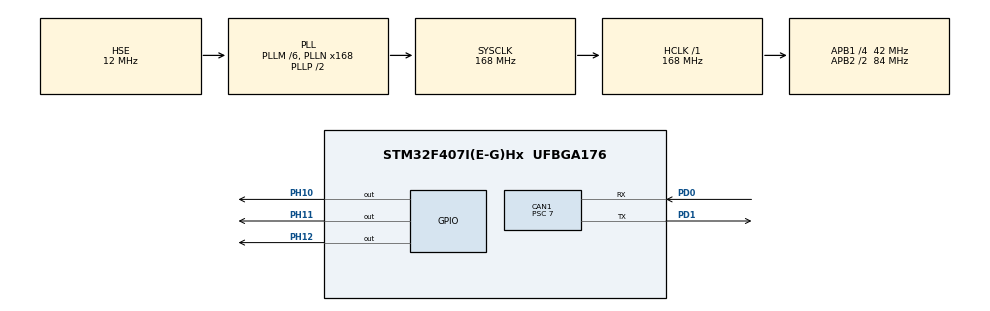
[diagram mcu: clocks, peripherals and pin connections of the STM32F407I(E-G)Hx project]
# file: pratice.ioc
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CAN1.BS1=CAN_BS1_2TQ
CAN1.BS2=CAN_BS2_3TQ
CAN1.CalculateBaudRate=1000000
CAN1.CalculateTimeBit=999.99
CAN1.CalculateTimeQuantum=166.66666666666669
CAN1.Prescaler=7
Mcu.Family=STM32F4
Mcu.Name=STM32F407I(E-G)Hx
Mcu.Package=UFBGA176
NVIC.CAN1_RX0_IRQn=true\:0\:0\:false\:false\:true\:true\:true
NVIC.PriorityGroup=NVIC_PRIORITYGROUP_4
PA13.Mode=Serial_Wire
PA13.Signal=SYS_JTMS-SWDIO
PA14.Mode=Serial_Wire
PA14.Signal=SYS_JTCK-SWCLK
PC14-OSC32_IN.Mode=LSE-External-Oscillator
PC14-OSC32_IN.Signal=RCC_OSC32_IN
PC15-OSC32_OUT.Mode=LSE-External-Oscillator
PC15-OSC32_OUT.Signal=RCC_OSC32_OUT
PD0.Mode=CAN_Activate
PD0.Signal=CAN1_RX
PD1.Mode=CAN_Activate
PD1.Signal=CAN1_TX
PH0-OSC_IN.Mode=HSE-External-Oscillator
PH0-OSC_IN.Signal=RCC_OSC_IN
PH1-OSC_OUT.Mode=HSE-External-Oscillator
PH1-OSC_OUT.Signal=RCC_OSC_OUT
PH10.Signal=GPIO_Output
PH11.Signal=GPIO_Output
PH12.Signal=GPIO_Output
ProjectManager.HeapSize=0x200
ProjectManager.StackSize=0x400
ProjectManager.TargetToolchain=MDK-ARM V5.27
RCC.48MHZClocksFreq_Value=84000000
RCC.AHBFreq_Value=168000000
RCC.APB1CLKDivider=RCC_HCLK_DIV4
RCC.APB1Freq_Value=42000000
RCC.APB1TimFreq_Value=84000000
RCC.APB2CLKDivider=RCC_HCLK_DIV2
RCC.APB2Freq_Value=84000000
RCC.APB2TimFreq_Value=168000000
RCC.CortexFreq_Value=168000000
RCC.HCLKFreq_Value=168000000
RCC.HSE_VALUE=12000000
RCC.HSI_VALUE=16000000
RCC.PLLM=6
RCC.PLLN=168
RCC.PLLSourceVirtual=RCC_PLLSOURCE_HSE
RCC.SYSCLKFreq_VALUE=168000000
RCC.SYSCLKSource=RCC_SYSCLKSOURCE_PLLCLK
RCC.VCOOutputFreq_Value=336000000
board=custom

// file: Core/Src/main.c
/* USER CODE BEGIN Header */
/**
  ******************************************************************************
  * @file           : main.c
  * @brief          : Main program body
  ******************************************************************************
  * @attention
  *
  * <h2><center>&copy; Copyright (c) 2023 STMicroelectronics.
  * All rights reserved.</center></h2>
  *
  * This software component is licensed by ST under BSD 3-Clause license,
  * the "License"; You may not use this file except in compliance with the
  * License. You may obtain a copy of the License at:
  *                        opensource.org/licenses/BSD-3-Clause
  *
  ******************************************************************************
  */
/* USER CODE END Header */
#include "main.h"
#include "can.h"
#include "gpio.h"

/* USER CODE BEGIN Includes */
#include "bsp_can.h"
#include "pid.h"

/* USER CODE END Includes */

void SystemClock_Config(void);

/* USER CODE BEGIN 0 */

int16_t led_cnt;
int16_t text_speed;
int16_t target_yaw_speed;
float target_angle = 1;
float now_angle;
extern moto_info_t motor_yaw_info;
extern pid_struct speed_pid;
extern pid_struct angle_pid;

double msp(double x, double in_min, double in_max, double out_min, double out_max)
{
	return (x-in_min)*(out_max-out_min)/(in_max-in_min)+out_min;
}

/* USER CODE END 0 */

int main(void)
{

  /* MCU Configuration--------------------------------------------------------*/

  /* Reset of all peripherals, Initializes the Flash interface and the Systick. */
  HAL_Init();

  /* Configure the system clock */
  SystemClock_Config();

  /* Initialize all configured peripherals */
  MX_GPIO_Init();
  MX_CAN1_Init();
  /* USER CODE BEGIN 2 */
	can_filter_init();
	gimbal_pid_init();

  /* USER CODE END 2 */

  /* Infinite loop */
  /* USER CODE BEGIN WHILE */
  while (1)
  {
		led_cnt ++;
    if (led_cnt == 250)
    {
      led_cnt = 0;
      HAL_GPIO_TogglePin(GPIOH,GPIO_PIN_11); //blink cycle 500ms
    }

		now_angle=msp(motor_yaw_info.rotor_angle,0,8191,-pi,pi);//计算当前的编码器角度值，运用msp函数将编码器的值映射为弧度制

		pid_calc(&angle_pid,target_angle, now_angle);//角度环
		pid_calc(&speed_pid,angle_pid.output, motor_yaw_info.rotor_speed);//速度环

		Set_angle(&hcan1,speed_pid.output);//can发送函数，发送经过PID计算的电压值

		HAL_Delay(40);
    /* USER CODE END WHILE */

  }
}

void SystemClock_Config(void)
{
  RCC_OscInitTypeDef RCC_OscInitStruct = {0};
  RCC_ClkInitTypeDef RCC_ClkInitStruct = {0};

  /** Configure the main internal regulator output voltage
  */
  __HAL_RCC_PWR_CLK_ENABLE();
  __HAL_PWR_VOLTAGESCALING_CONFIG(PWR_REGULATOR_VOLTAGE_SCALE1);
  /** Initializes the RCC Oscillators according to the specified parameters
  * in the RCC_OscInitTypeDef structure.
  */
  RCC_OscInitStruct.OscillatorType = RCC_OSCILLATORTYPE_HSE;
  RCC_OscInitStruct.HSEState = RCC_HSE_ON;
  RCC_OscInitStruct.PLL.PLLState = RCC_PLL_ON;
  RCC_OscInitStruct.PLL.PLLSource = RCC_PLLSOURCE_HSE;
  RCC_OscInitStruct.PLL.PLLM = 6;
  RCC_OscInitStruct.PLL.PLLN = 168;
  RCC_OscInitStruct.PLL.PLLP = RCC_PLLP_DIV2;
  RCC_OscInitStruct.PLL.PLLQ = 4;
  if (HAL_RCC_OscConfig(&RCC_OscInitStruct) != HAL_OK)
  {
    Error_Handler();
  }
  /** Initializes the CPU, AHB and APB buses clocks
  */
  RCC_ClkInitStruct.ClockType = RCC_CLOCKTYPE_HCLK|RCC_CLOCKTYPE_SYSCLK
                              |RCC_CLOCKTYPE_PCLK1|RCC_CLOCKTYPE_PCLK2;
  RCC_ClkInitStruct.SYSCLKSource = RCC_SYSCLKSOURCE_PLLCLK;
  RCC_ClkInitStruct.AHBCLKDivider = RCC_SYSCLK_DIV1;
  RCC_ClkInitStruct.APB1CLKDivider = RCC_HCLK_DIV4;
  RCC_ClkInitStruct.APB2CLKDivider = RCC_HCLK_DIV2;

  if (HAL_RCC_ClockConfig(&RCC_ClkInitStruct, FLASH_LATENCY_5) != HAL_OK)
  {
    Error_Handler();
  }
}

void Error_Handler(void)
{
  __disable_irq();
  while (1)
  {
  }
}

/************************ (C) COPYRIGHT STMicroelectronics *****END OF FILE****/
